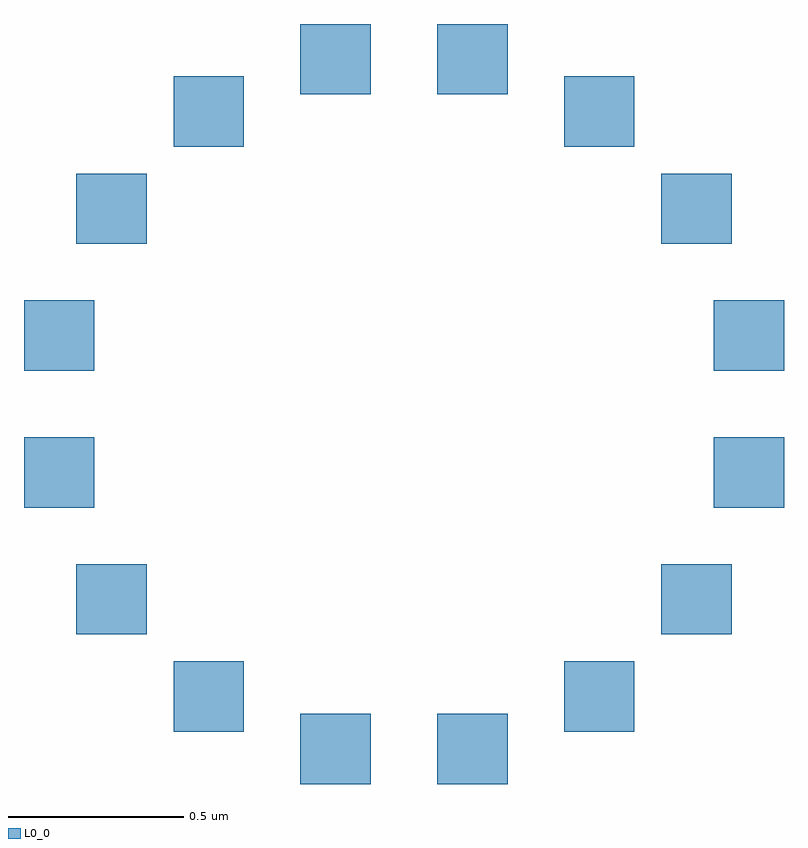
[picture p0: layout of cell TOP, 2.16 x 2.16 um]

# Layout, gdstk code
import gdstk
lib = gdstk.Library(unit=1e-6, precision=1e-09)
def R(c, l, rs):  # rectangles x0, y0, x1, y1
    for r in rs: c.add(gdstk.rectangle(r[:2], r[2:], *l))
L0_0 = (0, 0)

top = lib.new_cell('TOP')
R(top, L0_0, [(-0.295,-0.38,-0.095,-0.18), (0.095,-0.38,0.295,-0.18), (-0.655,-0.231,-0.455,-0.031), (0.455,-0.231,0.655,-0.031), (-0.931,0.045,-0.731,0.245), (0.731,0.045,0.931,0.245), (-1.08,0.405,-0.881,0.605), (0.881,0.405,1.08,0.605), (-1.08,0.795,-0.881,0.995), (0.881,0.795,1.08,0.995), (-0.931,1.155,-0.731,1.355), (0.731,1.155,0.931,1.355), (-0.655,1.431,-0.455,1.631), (0.455,1.431,0.655,1.631), (-0.295,1.581,-0.095,1.78), (0.095,1.581,0.295,1.78)])

lib.write_gds('TOP.gds')
